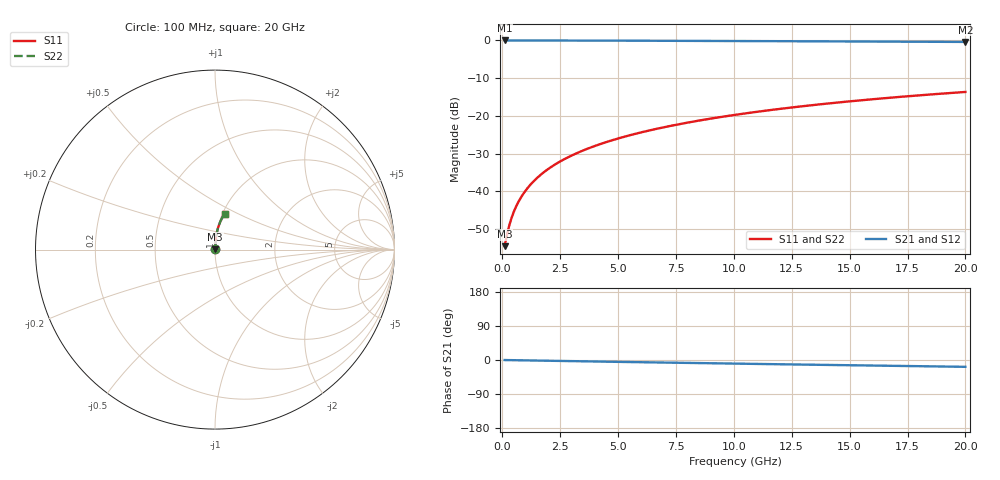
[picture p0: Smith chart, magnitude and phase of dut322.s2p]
! Touchstone file exported from HFSS 2024.1.0
!  File:  C:/UserFiles/LocalFiles/RDL_TSV_Batchsim/temp_RDL_top_322_1779607022.aedt
!  Generated:  03:19:28 PM May 24, 2026
!  Design:  RDL_top
!  Project:  temp_RDL_top_322_1779607022
!  Setup:  Setup1
!  Solution:  Sweep
! Variables:
!  dtsv = 10.80580581um
!  hbump = 3um
!  htsv = 83.76um
!  ldown = 100um
!  lrdl = 222.86um
!  p = 40
!  p1 = 43.06um
!  rhole = 1um
!  t = 450um
!  tdown = 3.915915916um
!  trdl = 3.52um
!  wdown = 15.38538539um
!  wrdl = 16.39um
# GHz S MA R 50.000000
! Terminal data exported
! Port[1] = Box2_T1
! Port[2] = Box2_T2
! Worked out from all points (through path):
!   200 points, 100 MHz to 20 GHz, reference 50 ohm
!   highest |S21| = -0.01 dB at 100 MHz (marker M1); lowest = -0.4 dB at 20 GHz (marker M2)
!   group delay of S21, straight-line fit = 2.49 ps
!   lowest |S11| = -54.5 dB at 100 MHz (marker M3), VSWR 1.00, Z = 50.2 + j0.106 ohm
!   |S11| at or under -10 dB: start of sweep to end of sweep
!   |S22| runs from -54.5 to -13.7 dB; largest |S21 - S12| = 4.6e-15
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0.1  0.001876 34.3  0.9984 -0.1  0.9984 -0.1  0.001876 34.3
! Gamma 0 0 0 0
! Port Impedance 50 0 50 0
0.2  0.002632 52.8  0.9984 -0.2  0.9984 -0.2  0.002632 52.8
0.3  0.00352 62.2  0.9983 -0.3  0.9983 -0.3  0.00352 62.2
0.4  0.004446 67.6  0.9983 -0.4  0.9983 -0.4  0.004446 67.6
0.5  0.005385 71.2  0.9982 -0.5  0.9982 -0.5  0.005385 71.2
0.6  0.006331 73.8  0.9982 -0.6  0.9982 -0.6  0.006331 73.8
0.8  0.008238 77.2  0.998 -0.8  0.998 -0.8  0.008238 77.2
1.1  0.01113 80.2  0.9979 -1.1  0.9979 -1.1  0.01113 80.2
1.3  0.01307 81.5  0.9977 -1.3  0.9977 -1.3  0.01307 81.5
1.6  0.01601 82.8  0.9975 -1.6  0.9975 -1.6  0.01601 82.8
2.1  0.02093 84.2  0.9971 -2.1  0.9971 -2.1  0.02093 84.2
2.7  0.02688 85.1  0.9964 -2.7  0.9964 -2.7  0.02688 85.1
3.5  0.03489 85.6  0.9953 -3.5  0.9953 -3.5  0.03489 85.6
4.2  0.04197 85.8  0.9942 -4.2  0.9942 -4.2  0.04197 85.8
5  0.05013 85.8  0.9927 -4.9  0.9927 -4.9  0.05013 85.8
5.9  0.05941 85.6  0.9909 -5.8  0.9909 -5.8  0.05941 85.6
6.8  0.06877 85.3  0.989 -6.6  0.989 -6.6  0.06877 85.3
8.3  0.08454 84.5  0.9855 -8.0  0.9855 -8.0  0.08454 84.5
10.1  0.1037 83.4  0.9811 -9.6  0.9811 -9.6  0.1036 83.4
13.4  0.1388 80.8  0.9727 -12.5  0.9727 -12.5  0.1388 80.8
16.7  0.1735 78.0  0.9639 -15.3  0.9639 -15.3  0.1735 78.0
20  0.2075 75.1  0.9546 -18.0  0.9546 -18.0  0.2075 75.1
